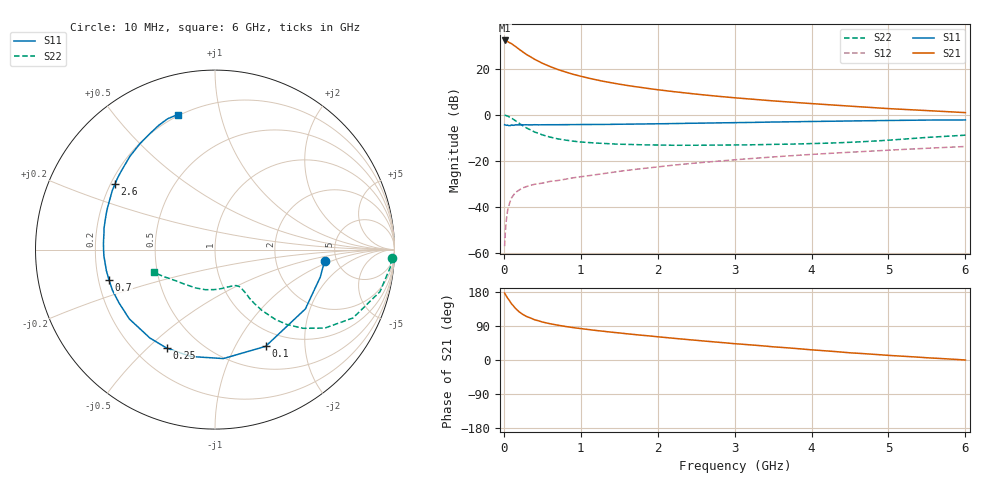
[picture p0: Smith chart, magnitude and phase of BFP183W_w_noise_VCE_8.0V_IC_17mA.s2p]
! Infineon Technologies  Discrete & RF Semiconductors
! BFP183W
! VCE =  8.0 V,  IC =  17 mA
! Common Emitter S-Parameters:  Jan 2017
# GHz  S  MA  R  50
!  f  S11  S21  S12  S22
! GHz  MAG  ANG  MAG  ANG  MAG  ANG  MAG  ANG
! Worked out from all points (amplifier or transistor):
!   77 points, 10 MHz to 6 GHz, reference 50 ohm
!   highest |S21| = 32.4 dB at 10 MHz (marker M1)
!   |S21| within 3 dB of that: start of sweep to 166.2 MHz
!   unconditionally stable (mu >= 1): 1.29 GHz to 3.696 GHz
!   at 130 MHz: K = 0.20, MSG = 32.5 dB, |S12| = -34.7 dB
!   at 2.2 GHz: K = 1.06, MAG = 14.5 dB, |S12| = -21.9 dB
!   at 6 GHz: K = 0.86, MSG = 7.4 dB, |S12| = -13.7 dB
!   lowest NFmin = 1.12 dB at 450 MHz
!   S11 on the Smith chart (normalised r, x): 10 MHz: 4.01, -0.80; 100 MHz: 0.78, -1.34; 250 MHz: 0.33, -0.57; 700 MHz: 0.24, -0.13; 2.6 GHz: 0.22, +0.28; 6 GHz: 0.19, +0.74
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0.01  0.6141 -5.8  41.82 176.7  0.0014 76.5  0.9855 -2.8
0.02  0.6063 -14.7  41.18 172.7  0.0029 89.5  0.9809 -5.9
0.05  0.6023 -33.3  39.58 163.0  0.0085 74.1  0.9487 -14.3
0.1  0.6083 -62.4  35.65 148.1  0.0157 66.7  0.8577 -26.4
0.15  0.6089 -85.6  31.05 136.4  0.0205 57.1  0.7514 -35.6
0.2  0.6106 -102.7  26.81 127.0  0.0234 52.2  0.6577 -41.8
0.25  0.6111 -116.2  23.32 119.8  0.0261 47.3  0.5798 -46.1
0.3  0.6117 -126.4  20.43 114.4  0.0279 45.3  0.5158 -49.1
0.4  0.6141 -141.0  16.26 106.1  0.0311 44.9  0.427 -52.4
0.5  0.6117 -150.9  13.36 100.3  0.0329 44.0  0.3697 -53.9
0.6  0.6146 -158.3  11.33 95.7  0.0359 44.3  0.3306 -54.7
0.7  0.6142 -164.1  9.787 92.0  0.0375 46.4  0.3028 -54.7
0.9  0.6169 -173.2  7.688 85.5  0.043 49.1  0.2699 -55.5
1.1  0.6208 180.0  6.348 80.4  0.0477 51.2  0.2518 -56.3
1.3  0.6234 174.1  5.382 75.7  0.0532 52.7  0.2404 -57.8
1.5  0.6295 169.2  4.684 71.4  0.0594 54.3  0.2314 -60.0
2.1  0.6464 156.0  3.386 59.4  0.0775 55.9  0.2208 -70.1
2.6  0.6659 146.9  2.733 50.1  0.0932 55.5  0.2202 -81.6
3.1  0.6844 138.6  2.296 41.6  0.1091 54.1  0.2234 -93.7
4.1  0.7258 124.2  1.724 25.4  0.1419 50.0  0.241 -119.4
5.1  0.7625 113.5  1.35 11.0  0.1748 44.8  0.2907 -145.0
6  0.7805 105.4  1.126 0.0  0.2063 39.1  0.3637 -159.6
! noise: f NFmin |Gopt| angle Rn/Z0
0.45  1.12  0.17  164  -0.02
0.9  1.15  0.23  169  0.09
1.9  1.61  0.4  -165  0.08
2.4  1.84  0.44  -159  0.11
